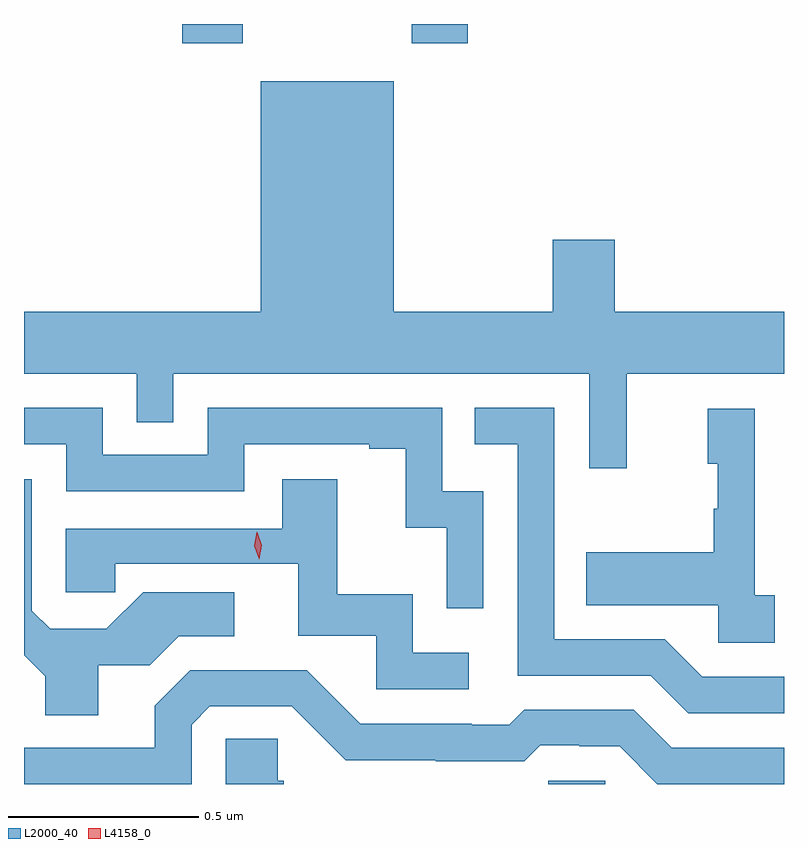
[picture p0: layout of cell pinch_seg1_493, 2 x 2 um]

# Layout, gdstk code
import gdstk
lib = gdstk.Library(unit=1e-6, precision=1e-09)
def R(c, l, rs):  # rectangles x0, y0, x1, y1
    for r in rs: c.add(gdstk.rectangle(r[:2], r[2:], *l))
def P(c, l, *ps):  # polygons
    for p in ps: c.add(gdstk.Polygon(p, *l))
L2000_40 = (2000, 40)
L4158_0 = (4158, 0)

pinch_seg1_493 = lib.new_cell('pinch_seg1_493')
R(pinch_seg1_493, L2000_40, [(1088.073,541.329,1088.223,541.338), (1087.109,543.279,1087.269,543.329), (1087.714,543.279,1087.861,543.329)])
P(pinch_seg1_493, L2000_40, [(1088.279,542.408),(1088.693,542.408),(1088.693,542.572),(1088.248,542.572),(1088.248,542.761),(1088.084,542.761),(1088.084,542.572),(1087.666,542.572),(1087.666,543.178),(1087.316,543.178),(1087.316,542.572),(1086.693,542.572),(1086.693,542.408),(1086.99,542.408),(1086.99,542.281),(1087.086,542.281),(1087.086,542.408),(1088.181,542.408),(1088.181,542.16),(1088.279,542.16)],
  [(1088.693,541.611),(1088.478,541.611),(1088.379,541.71),(1088.088,541.71),(1088.088,542.319),(1087.879,542.319),(1087.879,542.223),(1087.992,542.223),(1087.992,541.614),(1088.342,541.614),(1088.441,541.515),(1088.693,541.515)],
  [(1087.902,542.1),(1087.794,542.1),(1087.794,542.319),(1087.176,542.319),(1087.176,542.196),(1086.9,542.196),(1086.9,542.319),(1086.693,542.319),(1086.693,542.223),(1086.804,542.223),(1086.804,542.1),(1087.272,542.1),(1087.272,542.223),(1087.601,542.223),(1087.601,542.211),(1087.697,542.211),(1087.697,542.003),(1087.806,542.003),(1087.806,541.791),(1087.902,541.791)],
  [(1088.668,541.826),(1088.616,541.826),(1088.616,542.317),(1088.492,542.317),(1088.492,542.172),(1088.518,542.172),(1088.518,542.054),(1088.508,542.054),(1088.508,541.939),(1088.173,541.939),(1088.173,541.799),(1088.52,541.799),(1088.52,541.701),(1088.668,541.701)],
  [(1086.889,541.642),(1087.024,541.642),(1087.1,541.718),(1087.246,541.718),(1087.246,541.833),(1087.12,541.833),(1087.12,541.834),(1087.007,541.834),(1086.91,541.737),(1086.762,541.737),(1086.714,541.785),(1086.714,542.131),(1086.693,542.131),(1086.693,541.668),(1086.749,541.612),(1086.749,541.51),(1086.889,541.51)],
  [(1087.864,541.674),(1087.716,541.674),(1087.716,541.828),(1087.517,541.828),(1087.517,542.131),(1087.373,542.131),(1087.373,542.001),(1086.803,542.001),(1086.803,541.834),(1086.933,541.834),(1086.933,541.909),(1087.415,541.909),(1087.415,541.719),(1087.62,541.719),(1087.62,541.578),(1087.864,541.578)],
  [(1087.134,541.485),(1087.182,541.533),(1087.398,541.533),(1087.54,541.391),(1087.776,541.391),(1087.776,541.389),(1088.009,541.389),(1088.051,541.431),(1088.154,541.431),(1088.154,541.428),(1088.261,541.428),(1088.36,541.329),(1088.693,541.329),(1088.693,541.425),(1088.397,541.425),(1088.298,541.524),(1088.009,541.524),(1087.97,541.485),(1087.871,541.485),(1087.871,541.488),(1087.578,541.488),(1087.437,541.629),(1087.131,541.629),(1087.037,541.535),(1087.037,541.425),(1086.693,541.425),(1086.693,541.329),(1087.134,541.329)],
  [(1087.376,541.338),(1087.361,541.338),(1087.361,541.448),(1087.224,541.448),(1087.224,541.329),(1087.376,541.329)])
P(pinch_seg1_493, L4158_0, [(1087.312,541.921),(1087.312,541.921),(1087.299,541.956),(1087.306,541.992),(1087.306,541.992),(1087.307,541.992),(1087.319,541.957),(1087.312,541.921)])

lib.write_gds('pinch_seg1_493.gds')
